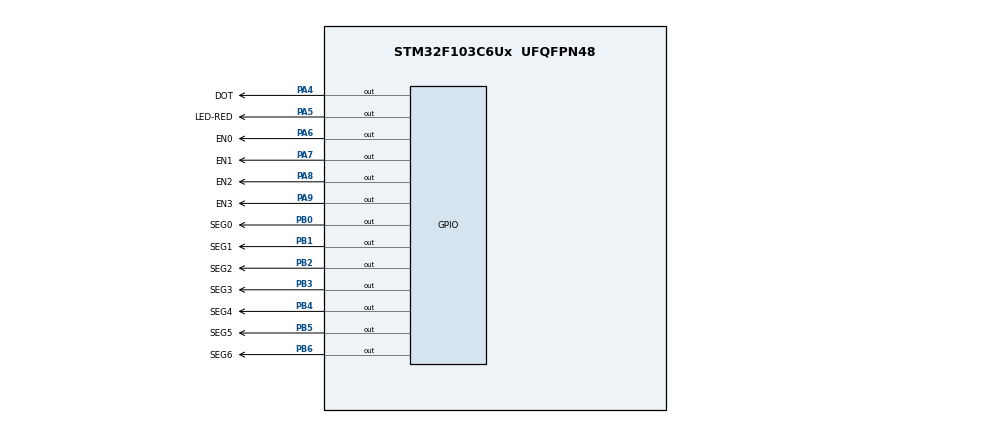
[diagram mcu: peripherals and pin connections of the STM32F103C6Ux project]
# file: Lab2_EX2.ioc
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Mcu.Family=STM32F1
Mcu.Name=STM32F103C6Ux
Mcu.Package=UFQFPN48
NVIC.PriorityGroup=NVIC_PRIORITYGROUP_4
NVIC.TIM2_IRQn=true\:0\:0\:false\:false\:true\:true\:true
PA4.GPIO_Label=DOT
PA4.Signal=GPIO_Output
PA5.GPIO_Label=LED-RED
PA5.Signal=GPIO_Output
PA6.GPIO_Label=EN0
PA6.Signal=GPIO_Output
PA7.GPIO_Label=EN1
PA7.Signal=GPIO_Output
PA8.GPIO_Label=EN2
PA8.Signal=GPIO_Output
PA9.GPIO_Label=EN3
PA9.Signal=GPIO_Output
PB0.GPIO_Label=SEG0
PB0.Signal=GPIO_Output
PB1.GPIO_Label=SEG1
PB1.Signal=GPIO_Output
PB2.GPIO_Label=SEG2
PB2.Signal=GPIO_Output
PB3.GPIO_Label=SEG3
PB3.Signal=GPIO_Output
PB4.GPIO_Label=SEG4
PB4.Signal=GPIO_Output
PB5.GPIO_Label=SEG5
PB5.Signal=GPIO_Output
PB6.GPIO_Label=SEG6
PB6.Signal=GPIO_Output
ProjectManager.HeapSize=0x200
ProjectManager.StackSize=0x400
ProjectManager.TargetToolchain=STM32CubeIDE
RCC.APB1Freq_Value=8000000
RCC.APB2Freq_Value=8000000
TIM2.Period=9
TIM2.Prescaler=7999
VP_SYS_VS_ND.Mode=No_Debug
VP_TIM2_VS_ClockSourceINT.Mode=Internal
board=custom

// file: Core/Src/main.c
/* USER CODE BEGIN Header */
/**
  ******************************************************************************
  * @file           : main.c
  * @brief          : Main program body
  ******************************************************************************
  * @attention
  *
  * <h2><center>&copy; Copyright (c) 2025 STMicroelectronics.
  * All rights reserved.</center></h2>
  *
  * This software component is licensed by ST under BSD 3-Clause license,
  * the "License"; You may not use this file except in compliance with the
  * License. You may obtain a copy of the License at:
  *                        opensource.org/licenses/BSD-3-Clause
  *
  ******************************************************************************
  */
/* USER CODE END Header */
#include "main.h"

TIM_HandleTypeDef htim2;

void SystemClock_Config(void);
static void MX_GPIO_Init(void);
static void MX_TIM2_Init(void);

/* USER CODE BEGIN 0 */
static const uint8_t segCode[10] = {
    0b1000000, // 0
    0b1111001, // 1
    0b0100100, // 2
    0b0110000, // 3
    0b0011001, // 4
    0b0010010, // 5
    0b0000010, // 6
    0b1111000, // 7
    0b0000000, // 8
    0b0010000  // 9
};

void display7SEG(int num) {
    if (num < 0 || num > 9) num = 0;

    for (int i = 0; i < 7; i++) {
        HAL_GPIO_WritePin(GPIOB, (1 << i),
            (segCode[num] & (1 << i)) ? GPIO_PIN_SET : GPIO_PIN_RESET);
    }
}
/* USER CODE END 0 */

int main(void)
{

  /* MCU Configuration--------------------------------------------------------*/

  /* Reset of all peripherals, Initializes the Flash interface and the Systick. */
  HAL_Init();

  /* Configure the system clock */
  SystemClock_Config();

  /* Initialize all configured peripherals */
  MX_GPIO_Init();
  MX_TIM2_Init();
  /* USER CODE BEGIN 2 */
  HAL_TIM_Base_Start_IT (& htim2 );

  /* USER CODE END 2 */

  /* Infinite loop */
  while (1)
  {

  }
}

void SystemClock_Config(void)
{
  RCC_OscInitTypeDef RCC_OscInitStruct = {0};
  RCC_ClkInitTypeDef RCC_ClkInitStruct = {0};

  /** Initializes the RCC Oscillators according to the specified parameters
  * in the RCC_OscInitTypeDef structure.
  */
  RCC_OscInitStruct.OscillatorType = RCC_OSCILLATORTYPE_HSI;
  RCC_OscInitStruct.HSIState = RCC_HSI_ON;
  RCC_OscInitStruct.HSICalibrationValue = RCC_HSICALIBRATION_DEFAULT;
  RCC_OscInitStruct.PLL.PLLState = RCC_PLL_NONE;
  if (HAL_RCC_OscConfig(&RCC_OscInitStruct) != HAL_OK)
  {
    Error_Handler();
  }
  /** Initializes the CPU, AHB and APB buses clocks
  */
  RCC_ClkInitStruct.ClockType = RCC_CLOCKTYPE_HCLK|RCC_CLOCKTYPE_SYSCLK
                              |RCC_CLOCKTYPE_PCLK1|RCC_CLOCKTYPE_PCLK2;
  RCC_ClkInitStruct.SYSCLKSource = RCC_SYSCLKSOURCE_HSI;
  RCC_ClkInitStruct.AHBCLKDivider = RCC_SYSCLK_DIV1;
  RCC_ClkInitStruct.APB1CLKDivider = RCC_HCLK_DIV1;
  RCC_ClkInitStruct.APB2CLKDivider = RCC_HCLK_DIV1;

  if (HAL_RCC_ClockConfig(&RCC_ClkInitStruct, FLASH_LATENCY_0) != HAL_OK)
  {
    Error_Handler();
  }
}

static void MX_TIM2_Init(void)
{

  TIM_ClockConfigTypeDef sClockSourceConfig = {0};
  TIM_MasterConfigTypeDef sMasterConfig = {0};

  htim2.Instance = TIM2;
  htim2.Init.Prescaler = 7999;
  htim2.Init.CounterMode = TIM_COUNTERMODE_UP;
  htim2.Init.Period = 9;
  htim2.Init.ClockDivision = TIM_CLOCKDIVISION_DIV1;
  htim2.Init.AutoReloadPreload = TIM_AUTORELOAD_PRELOAD_DISABLE;
  if (HAL_TIM_Base_Init(&htim2) != HAL_OK)
  {
    Error_Handler();
  }
  sClockSourceConfig.ClockSource = TIM_CLOCKSOURCE_INTERNAL;
  if (HAL_TIM_ConfigClockSource(&htim2, &sClockSourceConfig) != HAL_OK)
  {
    Error_Handler();
  }
  sMasterConfig.MasterOutputTrigger = TIM_TRGO_RESET;
  sMasterConfig.MasterSlaveMode = TIM_MASTERSLAVEMODE_DISABLE;
  if (HAL_TIMEx_MasterConfigSynchronization(&htim2, &sMasterConfig) != HAL_OK)
  {
    Error_Handler();
  }

}

static void MX_GPIO_Init(void)
{
  GPIO_InitTypeDef GPIO_InitStruct = {0};

  /* GPIO Ports Clock Enable */
  __HAL_RCC_GPIOA_CLK_ENABLE();
  __HAL_RCC_GPIOB_CLK_ENABLE();

  /*Configure GPIO pin Output Level */
  HAL_GPIO_WritePin(GPIOA, DOT_Pin|LED_RED_Pin|EN0_Pin|EN1_Pin
                          |EN2_Pin|EN3_Pin, GPIO_PIN_RESET);

  /*Configure GPIO pin Output Level */
  HAL_GPIO_WritePin(GPIOB, SEG0_Pin|SEG1_Pin|SEG2_Pin|SEG3_Pin
                          |SEG4_Pin|SEG5_Pin|SEG6_Pin, GPIO_PIN_RESET);

  /*Configure GPIO pins : DOT_Pin LED_RED_Pin EN0_Pin EN1_Pin
                           EN2_Pin EN3_Pin */
  GPIO_InitStruct.Pin = DOT_Pin|LED_RED_Pin|EN0_Pin|EN1_Pin
                          |EN2_Pin|EN3_Pin;
  GPIO_InitStruct.Mode = GPIO_MODE_OUTPUT_PP;
  GPIO_InitStruct.Pull = GPIO_NOPULL;
  GPIO_InitStruct.Speed = GPIO_SPEED_FREQ_LOW;
  HAL_GPIO_Init(GPIOA, &GPIO_InitStruct);

  /*Configure GPIO pins : SEG0_Pin SEG1_Pin SEG2_Pin SEG3_Pin
                           SEG4_Pin SEG5_Pin SEG6_Pin */
  GPIO_InitStruct.Pin = SEG0_Pin|SEG1_Pin|SEG2_Pin|SEG3_Pin
                          |SEG4_Pin|SEG5_Pin|SEG6_Pin;
  GPIO_InitStruct.Mode = GPIO_MODE_OUTPUT_PP;
  GPIO_InitStruct.Pull = GPIO_NOPULL;
  GPIO_InitStruct.Speed = GPIO_SPEED_FREQ_LOW;
  HAL_GPIO_Init(GPIOB, &GPIO_InitStruct);

}

/* USER CODE BEGIN 4 */
int counter = 0;        // counts ms
int currentSeg = 0;     // which 7-segment to display (0..3)

void HAL_TIM_PeriodElapsedCallback(TIM_HandleTypeDef *htim) {
    if (htim->Instance == TIM2) {
        counter++;

        // Blink DOT every 1000 ms
        if (counter % 100 == 0) {
            HAL_GPIO_TogglePin(GPIOA, DOT_Pin);
            HAL_GPIO_TogglePin(GPIOA, LED_RED_Pin);
        }

        // Switch 7-segment every 500 ms
        if (counter % 50 == 0) {
            // Disable all ENs first
            HAL_GPIO_WritePin(GPIOA, EN0_Pin | EN1_Pin | EN2_Pin | EN3_Pin, GPIO_PIN_SET);

            // Enable current 7-segment and display number
            switch (currentSeg) {
                case 0:
                    HAL_GPIO_WritePin(GPIOA, EN0_Pin, GPIO_PIN_RESET);
                    display7SEG(1);
                    break;
                case 1:
                    HAL_GPIO_WritePin(GPIOA, EN1_Pin, GPIO_PIN_RESET);
                    display7SEG(2);
                    break;
                case 2:
                    HAL_GPIO_WritePin(GPIOA, EN2_Pin, GPIO_PIN_RESET);
                    display7SEG(3);
                    break;
                case 3:
                    HAL_GPIO_WritePin(GPIOA, EN3_Pin, GPIO_PIN_RESET);
                    display7SEG(0);
                    break;
            }

            // Move to next 7-segment
            currentSeg++;
            if (currentSeg > 3) currentSeg = 0;
        }

        // Optional: reset counter to prevent overflow
        if (counter >= 200) counter = 0; // resets every 2 seconds
    }
}

/* USER CODE END 4 */

void Error_Handler(void)
{
  __disable_irq();
  while (1)
  {
  }
}

/************************ (C) COPYRIGHT STMicroelectronics *****END OF FILE****/
